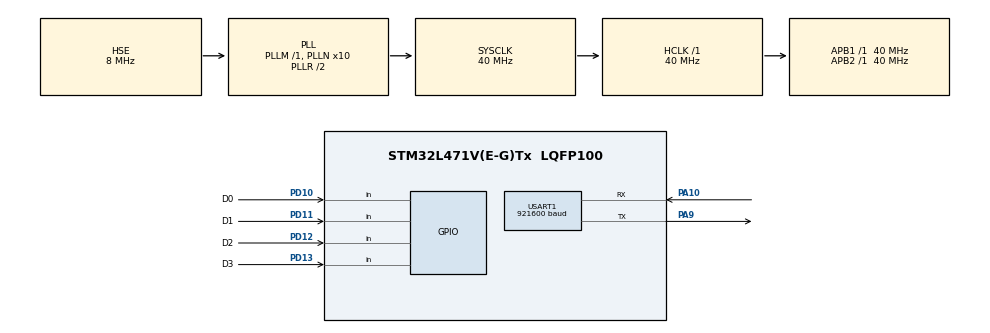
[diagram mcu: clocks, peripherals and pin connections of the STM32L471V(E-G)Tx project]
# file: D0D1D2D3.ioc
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FREERTOS.Tasks01=defaultTask,0,128,StartDefaultTask,Default,NULL,Dynamic,NULL,NULL;myTask02,-3,128,StartTask02,Default,NULL,Dynamic,NULL,NULL;myTask03,-3,128,StartTask03,Default,NULL,Dynamic,NULL,NULL
Mcu.Family=STM32L4
Mcu.Name=STM32L471V(E-G)Tx
Mcu.Package=LQFP100
NVIC.PriorityGroup=NVIC_PRIORITYGROUP_4
NVIC.TIM1_UP_TIM16_IRQn=true\:0\:0\:false\:false\:true\:false\:false
NVIC.TimeBase=TIM1_UP_TIM16_IRQn
NVIC.TimeBaseIP=TIM1
NVIC.USART1_IRQn=true\:5\:0\:false\:false\:true\:true\:true
PA10.Mode=Asynchronous
PA10.Signal=USART1_RX
PA13\ (JTMS-SWDIO).Mode=Serial_Wire
PA13\ (JTMS-SWDIO).Signal=SYS_JTMS-SWDIO
PA14\ (JTCK-SWCLK).Mode=Serial_Wire
PA14\ (JTCK-SWCLK).Signal=SYS_JTCK-SWCLK
PA9.Mode=Asynchronous
PA9.Signal=USART1_TX
PD10.GPIO_Label=D0
PD10.GPIO_PuPd=GPIO_PULLUP
PD10.Signal=GPIO_Input
PD11.GPIO_Label=D1
PD11.GPIO_PuPd=GPIO_PULLUP
PD11.Signal=GPIO_Input
PD12.GPIO_Label=D2
PD12.GPIO_PuPd=GPIO_PULLUP
PD12.Signal=GPIO_Input
PD13.GPIO_Label=D3
PD13.GPIO_PuPd=GPIO_PULLUP
PD13.Signal=GPIO_Input
PH0-OSC_IN\ (PH0).Mode=HSE-External-Oscillator
PH0-OSC_IN\ (PH0).Signal=RCC_OSC_IN
PH1-OSC_OUT\ (PH1).Mode=HSE-External-Oscillator
PH1-OSC_OUT\ (PH1).Signal=RCC_OSC_OUT
ProjectManager.HeapSize=0x200
ProjectManager.StackSize=0x400
ProjectManager.TargetToolchain=MDK-ARM V5
RCC.ADCFreq_Value=32000000
RCC.AHBFreq_Value=40000000
RCC.APB1Freq_Value=40000000
RCC.APB1TimFreq_Value=40000000
RCC.APB2Freq_Value=40000000
RCC.APB2TimFreq_Value=40000000
RCC.CortexFreq_Value=40000000
RCC.HCLKFreq_Value=40000000
RCC.HSE_VALUE=8000000
RCC.HSI_VALUE=16000000
RCC.LSE_VALUE=32768
RCC.MSI_VALUE=4000000
RCC.PLLN=10
RCC.PLLSourceVirtual=RCC_PLLSOURCE_HSE
RCC.SYSCLKFreq_VALUE=40000000
RCC.SYSCLKSource=RCC_SYSCLKSOURCE_PLLCLK
RCC.VCOOutputFreq_Value=80000000
USART1.BaudRate=921600
USART1.VirtualMode-Asynchronous=VM_ASYNC
VP_FREERTOS_VS_ENABLE.Mode=Enabled
VP_SYS_VS_tim1.Mode=TIM1
board=custom

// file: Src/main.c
/* USER CODE BEGIN Header */
/**
  ******************************************************************************
  * @file           : main.c
  * @brief          : Main program body
  ******************************************************************************
  * This notice applies to any and all portions of this file
  * that are not between comment pairs USER CODE BEGIN and
  * USER CODE END. Other portions of this file, whether
  * inserted by the user or by software development tools
  * are owned by their respective copyright owners.
  *
  * Copyright (c) 2019 STMicroelectronics International N.V.
  * All rights reserved.
  *
  * Redistribution and use in source and binary forms, with or without
  * modification, are permitted, provided that the following conditions are met:
  *
  * 1. Redistribution of source code must retain the above copyright notice,
  *    this list of conditions and the following disclaimer.
  * 2. Redistributions in binary form must reproduce the above copyright notice,
  *    this list of conditions and the following disclaimer in the documentation
  *    and/or other materials provided with the distribution.
  * 3. Neither the name of STMicroelectronics nor the names of other
  *    contributors to this software may be used to endorse or promote products
  *    derived from this software without specific written permission.
  * 4. This software, including modifications and/or derivative works of this
  *    software, must execute solely and exclusively on microcontroller or
  *    microprocessor devices manufactured by or for STMicroelectronics.
  * 5. Redistribution and use of this software other than as permitted under
  *    this license is void and will automatically terminate your rights under
  *    this license.
  *
  * THIS SOFTWARE IS PROVIDED BY STMICROELECTRONICS AND CONTRIBUTORS "AS IS"
  * AND ANY EXPRESS, IMPLIED OR STATUTORY WARRANTIES, INCLUDING, BUT NOT
  * LIMITED TO, THE IMPLIED WARRANTIES OF MERCHANTABILITY, FITNESS FOR A
  * PARTICULAR PURPOSE AND NON-INFRINGEMENT OF THIRD PARTY INTELLECTUAL PROPERTY
  * RIGHTS ARE DISCLAIMED TO THE FULLEST EXTENT PERMITTED BY LAW. IN NO EVENT
  * SHALL STMICROELECTRONICS OR CONTRIBUTORS BE LIABLE FOR ANY DIRECT, INDIRECT,
  * INCIDENTAL, SPECIAL, EXEMPLARY, OR CONSEQUENTIAL DAMAGES (INCLUDING, BUT NOT
  * LIMITED TO, PROCUREMENT OF SUBSTITUTE GOODS OR SERVICES; LOSS OF USE, DATA,
  * OR PROFITS; OR BUSINESS INTERRUPTION) HOWEVER CAUSED AND ON ANY THEORY OF
  * LIABILITY, WHETHER IN CONTRACT, STRICT LIABILITY, OR TORT (INCLUDING
  * NEGLIGENCE OR OTHERWISE) ARISING IN ANY WAY OUT OF THE USE OF THIS SOFTWARE,
  * EVEN IF ADVISED OF THE POSSIBILITY OF SUCH DAMAGE.
  *
  ******************************************************************************
  */
/* USER CODE END Header */

#include "main.h"
#include "cmsis_os.h"
#include "usart.h"
#include "gpio.h"

void SystemClock_Config(void);
void MX_FREERTOS_Init(void);

int main(void)
{

  /* MCU Configuration--------------------------------------------------------*/

  /* Reset of all peripherals, Initializes the Flash interface and the Systick. */
  HAL_Init();

  /* Configure the system clock */
  SystemClock_Config();

  /* Initialize all configured peripherals */
  MX_GPIO_Init();
  MX_USART1_UART_Init();
  /* USER CODE BEGIN 2 */
  printf("\r\n%s\r\n",__FUNCTION__);
  /* USER CODE END 2 */

  /* Call init function for freertos objects (in freertos.c) */
  MX_FREERTOS_Init();

  /* Start scheduler */
  osKernelStart();

  /* We should never get here as control is now taken by the scheduler */

  /* Infinite loop */
  while (1)
  {

    /* USER CODE BEGIN 3 */
		  printf("\r\n%s\r\n",__FUNCTION__);
		  HAL_Delay(500);
  }
  /* USER CODE END 3 */
}

void SystemClock_Config(void)
{
  RCC_OscInitTypeDef RCC_OscInitStruct = {0};
  RCC_ClkInitTypeDef RCC_ClkInitStruct = {0};
  RCC_PeriphCLKInitTypeDef PeriphClkInit = {0};

  /**Initializes the CPU, AHB and APB busses clocks
  */
  RCC_OscInitStruct.OscillatorType = RCC_OSCILLATORTYPE_HSE;
  RCC_OscInitStruct.HSEState = RCC_HSE_ON;
  RCC_OscInitStruct.PLL.PLLState = RCC_PLL_ON;
  RCC_OscInitStruct.PLL.PLLSource = RCC_PLLSOURCE_HSE;
  RCC_OscInitStruct.PLL.PLLM = 1;
  RCC_OscInitStruct.PLL.PLLN = 10;
  RCC_OscInitStruct.PLL.PLLP = RCC_PLLP_DIV7;
  RCC_OscInitStruct.PLL.PLLQ = RCC_PLLQ_DIV2;
  RCC_OscInitStruct.PLL.PLLR = RCC_PLLR_DIV2;
  if (HAL_RCC_OscConfig(&RCC_OscInitStruct) != HAL_OK)
  {
    Error_Handler();
  }
  /**Initializes the CPU, AHB and APB busses clocks
  */
  RCC_ClkInitStruct.ClockType = RCC_CLOCKTYPE_HCLK|RCC_CLOCKTYPE_SYSCLK
                              |RCC_CLOCKTYPE_PCLK1|RCC_CLOCKTYPE_PCLK2;
  RCC_ClkInitStruct.SYSCLKSource = RCC_SYSCLKSOURCE_PLLCLK;
  RCC_ClkInitStruct.AHBCLKDivider = RCC_SYSCLK_DIV1;
  RCC_ClkInitStruct.APB1CLKDivider = RCC_HCLK_DIV1;
  RCC_ClkInitStruct.APB2CLKDivider = RCC_HCLK_DIV1;

  if (HAL_RCC_ClockConfig(&RCC_ClkInitStruct, FLASH_LATENCY_2) != HAL_OK)
  {
    Error_Handler();
  }
  PeriphClkInit.PeriphClockSelection = RCC_PERIPHCLK_USART1;
  PeriphClkInit.Usart1ClockSelection = RCC_USART1CLKSOURCE_PCLK2;
  if (HAL_RCCEx_PeriphCLKConfig(&PeriphClkInit) != HAL_OK)
  {
    Error_Handler();
  }
  /**Configure the main internal regulator output voltage
  */
  if (HAL_PWREx_ControlVoltageScaling(PWR_REGULATOR_VOLTAGE_SCALE1) != HAL_OK)
  {
    Error_Handler();
  }
}

/* USER CODE BEGIN 4 */
 void HAL_GPIO_EXTI_Callback(uint16_t GPIO_Pin)
{
	//没有配置中断IT 永远不会来
	printf("\r\n%#x\r\n",GPIO_Pin);
	switch(GPIO_Pin)
	{
		case GPIO_PIN_10:printf("GPIO_PIN_10\r\n");
			break;
		case GPIO_PIN_11:printf("GPIO_PIN_11\r\n");
			break;
		case GPIO_PIN_12:printf("GPIO_PIN_12\r\n");
			break;
		case GPIO_PIN_13:printf("GPIO_PIN_13\r\n");
			break;
		default:
			break;

	}
}
/* USER CODE END 4 */

void HAL_TIM_PeriodElapsedCallback(TIM_HandleTypeDef *htim)
{
  if (htim->Instance == TIM1) {
    HAL_IncTick();
  }
}

void Error_Handler(void)
{
}

/************************ (C) COPYRIGHT STMicroelectronics *****END OF FILE****/

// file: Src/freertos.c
/* USER CODE BEGIN Header */
/**
  ******************************************************************************
  * File Name          : freertos.c
  * Description        : Code for freertos applications
  ******************************************************************************
  * This notice applies to any and all portions of this file
  * that are not between comment pairs USER CODE BEGIN and
  * USER CODE END. Other portions of this file, whether
  * inserted by the user or by software development tools
  * are owned by their respective copyright owners.
  *
  * Copyright (c) 2019 STMicroelectronics International N.V.
  * All rights reserved.
  *
  * Redistribution and use in source and binary forms, with or without
  * modification, are permitted, provided that the following conditions are met:
  *
  * 1. Redistribution of source code must retain the above copyright notice,
  *    this list of conditions and the following disclaimer.
  * 2. Redistributions in binary form must reproduce the above copyright notice,
  *    this list of conditions and the following disclaimer in the documentation
  *    and/or other materials provided with the distribution.
  * 3. Neither the name of STMicroelectronics nor the names of other
  *    contributors to this software may be used to endorse or promote products
  *    derived from this software without specific written permission.
  * 4. This software, including modifications and/or derivative works of this
  *    software, must execute solely and exclusively on microcontroller or
  *    microprocessor devices manufactured by or for STMicroelectronics.
  * 5. Redistribution and use of this software other than as permitted under
  *    this license is void and will automatically terminate your rights under
  *    this license.
  *
  * THIS SOFTWARE IS PROVIDED BY STMICROELECTRONICS AND CONTRIBUTORS "AS IS"
  * AND ANY EXPRESS, IMPLIED OR STATUTORY WARRANTIES, INCLUDING, BUT NOT
  * LIMITED TO, THE IMPLIED WARRANTIES OF MERCHANTABILITY, FITNESS FOR A
  * PARTICULAR PURPOSE AND NON-INFRINGEMENT OF THIRD PARTY INTELLECTUAL PROPERTY
  * RIGHTS ARE DISCLAIMED TO THE FULLEST EXTENT PERMITTED BY LAW. IN NO EVENT
  * SHALL STMICROELECTRONICS OR CONTRIBUTORS BE LIABLE FOR ANY DIRECT, INDIRECT,
  * INCIDENTAL, SPECIAL, EXEMPLARY, OR CONSEQUENTIAL DAMAGES (INCLUDING, BUT NOT
  * LIMITED TO, PROCUREMENT OF SUBSTITUTE GOODS OR SERVICES; LOSS OF USE, DATA,
  * OR PROFITS; OR BUSINESS INTERRUPTION) HOWEVER CAUSED AND ON ANY THEORY OF
  * LIABILITY, WHETHER IN CONTRACT, STRICT LIABILITY, OR TORT (INCLUDING
  * NEGLIGENCE OR OTHERWISE) ARISING IN ANY WAY OUT OF THE USE OF THIS SOFTWARE,
  * EVEN IF ADVISED OF THE POSSIBILITY OF SUCH DAMAGE.
  *
  ******************************************************************************
  */
/* USER CODE END Header */

#include "FreeRTOS.h"
#include "task.h"
#include "main.h"
#include "cmsis_os.h"

osThreadId defaultTaskHandle;
osThreadId myTask02Handle;
osThreadId myTask03Handle;

void StartDefaultTask(void const * argument);
void StartTask02(void const * argument);
void StartTask03(void const * argument);

void MX_FREERTOS_Init(void); /* (MISRA C 2004 rule 8.1) */

void MX_FREERTOS_Init(void) {

  /* Create the thread(s) */
  /* definition and creation of defaultTask */
  osThreadDef(defaultTask, StartDefaultTask, osPriorityNormal, 0, 128);
  defaultTaskHandle = osThreadCreate(osThread(defaultTask), NULL);

  /* definition and creation of myTask02 */
  osThreadDef(myTask02, StartTask02, osPriorityIdle, 0, 128);
  myTask02Handle = osThreadCreate(osThread(myTask02), NULL);

  /* definition and creation of myTask03 */
  osThreadDef(myTask03, StartTask03, osPriorityIdle, 0, 128);
  myTask03Handle = osThreadCreate(osThread(myTask03), NULL);

}

void StartDefaultTask(void const * argument)
{

  /* USER CODE BEGIN StartDefaultTask */
  /* Infinite loop */
  for(;;)
  {
//		printf("\r\n%s\r\n",__FUNCTION__);
		  osDelay(100);
/*		printf("%d--%d--%d--%d\r\n",HAL_GPIO_ReadPin(GPIOD,D0_Pin),
																HAL_GPIO_ReadPin(GPIOD,D1_Pin),
																HAL_GPIO_ReadPin(GPIOD,D2_Pin),
																HAL_GPIO_ReadPin(GPIOD,D3_Pin));*/
  }
  /* USER CODE END StartDefaultTask */
}

void StartTask02(void const * argument)
{
  /* USER CODE BEGIN StartTask02 */
  /* Infinite loop */
  for(;;)
  {
		if(HAL_GPIO_ReadPin(GPIOD,D0_Pin)==1)//按键A下去 就是高电平 平时是低电平
		{
			HAL_Delay(10);
			if(HAL_GPIO_ReadPin(GPIOD,D0_Pin)==1)
			printf("D0\r\n");
		}

		if(HAL_GPIO_ReadPin(GPIOD,D1_Pin)==1)
		{
			HAL_Delay(10);
			if(HAL_GPIO_ReadPin(GPIOD,D1_Pin)==1)
			printf("D1\r\n");
		}
		if(HAL_GPIO_ReadPin(GPIOD,D2_Pin)==1)
		{
			HAL_Delay(10);
			if(HAL_GPIO_ReadPin(GPIOD,D2_Pin)==1)
			printf("D2\r\n");
		}
		if(HAL_GPIO_ReadPin(GPIOD,D3_Pin)==1)
		{
			HAL_Delay(10);
			if(HAL_GPIO_ReadPin(GPIOD,D3_Pin)==1)
			printf("D3\r\n");
		}
    osDelay(1);
  }
  /* USER CODE END StartTask02 */
}

void StartTask03(void const * argument)
{
  for(;;)
  {
    osDelay(1);
  }
}

/************************ (C) COPYRIGHT STMicroelectronics *****END OF FILE****/
